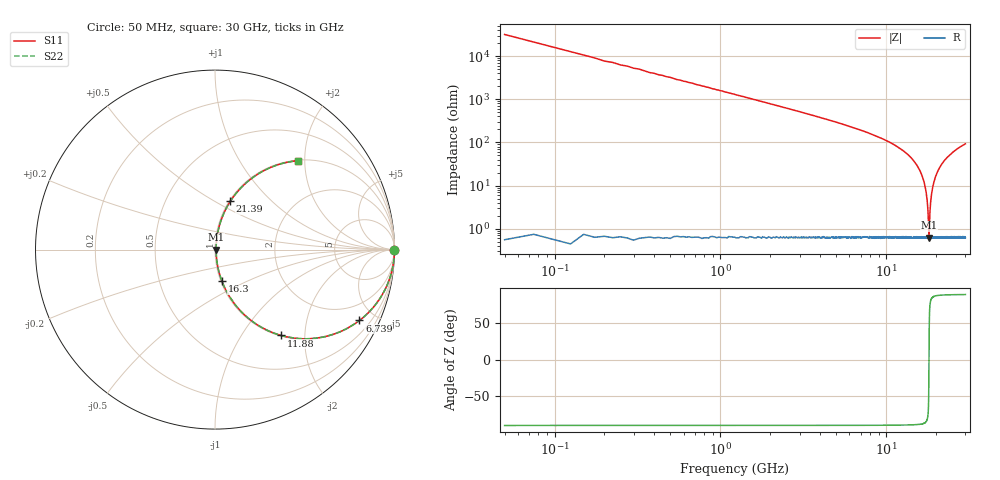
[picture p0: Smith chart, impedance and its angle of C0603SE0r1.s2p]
!	AVX Thin Film Operation 	Date: April 2014
!	Description: Accu-P® Series, Thin Film  SMD RF Capacitor
!	Part Number: 06031J0R1ZBSTR
# MHZ S MA R 50
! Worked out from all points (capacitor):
!   1201 points, 50 MHz to 30 GHz, reference 50 ohm
!   read as one part in series: C = 101 fF near 199.8 MHz
!   lowest |Z| = 616 mohm at 18.09 GHz (marker M1)
!   series resonance near 18.1 GHz, so ESL is about 770 pH
!   S11 on the Smith chart (normalised r, x): 50 MHz: open; 6.739 GHz: 1.02, -4.07; 11.88 GHz: 1.01, -1.52; 16.3 GHz: 1.01, -0.37; 21.39 GHz: 1.01, +0.59; 30 GHz: 1.01, +1.86
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50  1 -0.2  0.003142 89.8  0.003142 89.8  1 -0.2
274.625  1 -1.0  0.017 89.0  0.017 89.0  1 -1.0
449.333  1 -1.6  0.028 88.4  0.028 88.4  1 -1.6
1198.083  0.997 -4.3  0.075 85.6  0.075 85.6  0.997 -4.3
2695.583  0.985 -9.8  0.171 80.1  0.171 80.1  0.985 -9.8
5041.667  0.945 -18.9  0.325 70.9  0.325 70.9  0.945 -18.9
6738.833  0.896 -26.1  0.441 63.7  0.441 63.7  0.896 -26.1
10058.29  0.736 -42.3  0.673 47.4  0.673 47.4  0.736 -42.3
11880.25  0.604 -52.4  0.792 37.1  0.792 37.1  0.604 -52.4
15025  0.311 -70.8  0.945 18.1  0.945 18.1  0.311 -70.8
16297.88  0.18 -77.7  0.977 10.4  0.977 10.4  0.18 -77.7
17470.92  0.062 -80.7  0.992 3.5  0.992 3.5  0.062 -80.7
17745.46  0.035 -77.7  0.993 2.0  0.993 2.0  0.035 -77.7
17995.04  0.012 -57.2  0.994 0.6  0.994 0.6  0.012 -57.2
18094.88  0.006247 -2.1  0.994 0.0  0.994 0.0  0.006247 -2.1
18194.71  0.011 55.8  0.994 -0.5  0.994 -0.5  0.011 55.8
18469.25  0.036 78.0  0.993 -2.0  0.993 -2.0  0.036 78.0
18768.75  0.064 80.8  0.992 -3.6  0.992 -3.6  0.064 80.8
20016.67  0.174 78.0  0.979 -10.0  0.979 -10.0  0.174 78.0
21389.38  0.282 72.4  0.954 -16.4  0.954 -16.4  0.282 72.4
25033.29  0.5 59.4  0.861 -30.0  0.861 -30.0  0.5 59.4
30000  0.678 47.0  0.731 -42.7  0.731 -42.7  0.678 47.0
